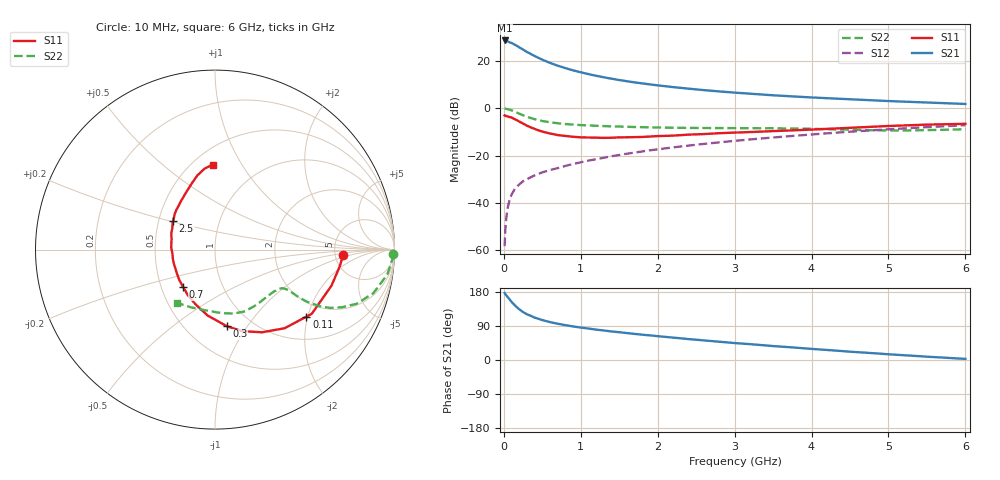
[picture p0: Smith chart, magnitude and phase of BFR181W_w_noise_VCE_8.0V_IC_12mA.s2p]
! (c) 2017  Infineon Technologies AG, Munich
! Infineon Technologies  Discrete & RF Semiconductors
! BFR181W
! VCE =  8.0 V,  IC =  12 mA
! Common Emitter S-Parameters:  Jan 2017
# GHz  S  MA  R  50
!  f  S11  S21  S12  S22
! GHz  MAG  ANG  MAG  ANG  MAG  ANG  MAG  ANG
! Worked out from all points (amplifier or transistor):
!   77 points, 10 MHz to 6 GHz, reference 50 ohm
!   highest |S21| = 28.9 dB at 10 MHz (marker M1)
!   |S21| within 3 dB of that: start of sweep to 205 MHz
!   unconditionally stable (mu >= 1): 983.3 MHz to 2.797 GHz
!   at 130 MHz: K = 0.30, MSG = 31.1 dB, |S12| = -34.8 dB
!   at 2.2 GHz: K = 1.04, MAG = 11.6 dB, |S12| = -16.5 dB
!   at 6 GHz: K = 0.84, MSG = 4.5 dB, |S12| = -7.1 dB
!   lowest NFmin = 1.34 dB at 450 MHz
!   S11 on the Smith chart (normalised r, x): 10 MHz: 5.93, -0.73; 110 MHz: 1.58, -1.96; 300 MHz: 0.77, -0.81; 700 MHz: 0.65, -0.29; 2.5 GHz: 0.59, +0.21; 6 GHz: 0.62, +0.76
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0.01  0.715 -2.4  27.75 176.9  0.0012 91.5  0.9917 -1.5
0.02  0.7003 -8.0  27.24 173.6  0.0028 98.0  0.9898 -3.1
0.05  0.6794 -17.2  26.48 166.0  0.0078 80.9  0.97 -8.2
0.1  0.647 -33.6  24.59 153.4  0.0148 74.3  0.9149 -15.4
0.11  0.6314 -36.3  24.07 151.4  0.0159 73.2  0.9004 -16.4
0.15  0.5849 -48.5  22.3 142.8  0.0204 70.2  0.8456 -20.9
0.2  0.53 -60.4  19.87 133.8  0.0245 68.7  0.7774 -24.4
0.25  0.4785 -71.6  17.77 126.5  0.0286 64.6  0.7179 -26.9
0.3  0.4326 -81.1  15.86 120.7  0.0316 63.3  0.6666 -28.3
0.4  0.3692 -96.5  12.96 111.8  0.0381 63.5  0.5924 -29.5
0.5  0.3235 -109.6  10.83 105.3  0.0441 63.4  0.5426 -29.7
0.6  0.2953 -120.9  9.286 100.0  0.0495 63.9  0.5099 -29.4
0.7  0.2733 -130.6  8.094 95.7  0.0543 65.3  0.486 -29.1
0.9  0.2511 -147.4  6.44 88.6  0.0664 66.5  0.4554 -29.1
1.1  0.2423 -161.1  5.362 83.0  0.0786 68.1  0.4365 -29.6
1.5  0.2439 177.8  4.017 73.3  0.1033 68.5  0.4132 -32.7
2.1  0.2625 156.5  2.966 61.0  0.1427 67.5  0.393 -40.6
2.5  0.2826 145.8  2.543 53.5  0.1702 66.0  0.3861 -47.4
3.1  0.312 132.4  2.116 43.3  0.2129 62.7  0.3823 -58.0
4.1  0.3633 115.2  1.685 27.9  0.2888 56.1  0.3673 -75.6
5.1  0.4308 102.0  1.418 13.9  0.3698 47.7  0.342 -100.9
6  0.4733 91.6  1.248 2.9  0.4426 39.0  0.3643 -125.6
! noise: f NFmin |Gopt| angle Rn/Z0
0.45  1.34  0.1  16  0.21
0.9  1.38  0.1  32  0.21
1.9  1.82  0.07  -151  0.21
2.4  2.01  0.08  -113  0.26
